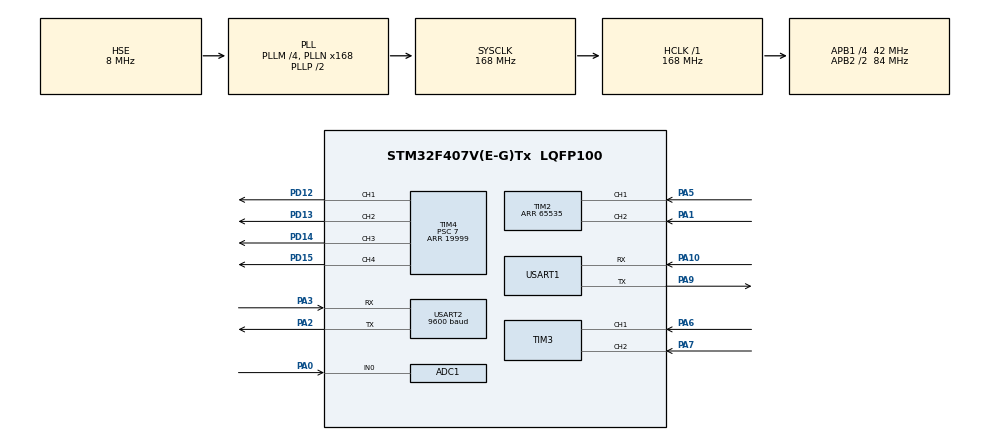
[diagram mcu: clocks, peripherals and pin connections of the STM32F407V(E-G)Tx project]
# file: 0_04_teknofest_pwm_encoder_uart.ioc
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ADC1.Channel-0\#ChannelRegularConversion=ADC_CHANNEL_0
ADC1.ContinuousConvMode=ENABLE
ADC1.DMAContinuousRequests=ENABLE
ADC1.NbrOfConversionFlag=1
ADC1.Rank-0\#ChannelRegularConversion=1
ADC1.SamplingTime-0\#ChannelRegularConversion=ADC_SAMPLETIME_3CYCLES
ADC1.master=1
Dma.ADC1.0.Direction=DMA_PERIPH_TO_MEMORY
Dma.ADC1.0.FIFOMode=DMA_FIFOMODE_DISABLE
Dma.ADC1.0.Instance=DMA2_Stream0
Dma.ADC1.0.MemDataAlignment=DMA_MDATAALIGN_HALFWORD
Dma.ADC1.0.MemInc=DMA_MINC_ENABLE
Dma.ADC1.0.Mode=DMA_CIRCULAR
Dma.ADC1.0.PeriphDataAlignment=DMA_PDATAALIGN_HALFWORD
Dma.ADC1.0.PeriphInc=DMA_PINC_DISABLE
Dma.ADC1.0.Priority=DMA_PRIORITY_LOW
Dma.Request0=ADC1
Mcu.Family=STM32F4
Mcu.Name=STM32F407V(E-G)Tx
Mcu.Package=LQFP100
NVIC.DMA2_Stream0_IRQn=true\:0\:0\:false\:false\:true\:false\:true
NVIC.PriorityGroup=NVIC_PRIORITYGROUP_4
NVIC.USART1_IRQn=true\:0\:0\:false\:false\:true\:true\:true
NVIC.USART2_IRQn=true\:1\:0\:true\:false\:true\:true\:true
PA0-WKUP.Signal=ADCx_IN0
PA1.Signal=S_TIM2_CH2
PA10.Mode=Asynchronous
PA10.Signal=USART1_RX
PA2.Mode=Asynchronous
PA2.Signal=USART2_TX
PA3.Mode=Asynchronous
PA3.Signal=USART2_RX
PA5.Signal=S_TIM2_CH1_ETR
PA6.Signal=S_TIM3_CH1
PA7.Signal=S_TIM3_CH2
PA9.Mode=Asynchronous
PA9.Signal=USART1_TX
PD12.Signal=S_TIM4_CH1
PD13.Signal=S_TIM4_CH2
PD14.Signal=S_TIM4_CH3
PD15.Signal=S_TIM4_CH4
PH0-OSC_IN.Mode=HSE-External-Oscillator
PH0-OSC_IN.Signal=RCC_OSC_IN
PH1-OSC_OUT.Mode=HSE-External-Oscillator
PH1-OSC_OUT.Signal=RCC_OSC_OUT
ProjectManager.HeapSize=0x200
ProjectManager.StackSize=0x400
ProjectManager.TargetToolchain=TrueSTUDIO
RCC.48MHZClocksFreq_Value=84000000
RCC.AHBFreq_Value=168000000
RCC.APB1CLKDivider=RCC_HCLK_DIV4
RCC.APB1Freq_Value=42000000
RCC.APB1TimFreq_Value=84000000
RCC.APB2CLKDivider=RCC_HCLK_DIV2
RCC.APB2Freq_Value=84000000
RCC.APB2TimFreq_Value=168000000
RCC.CortexFreq_Value=168000000
RCC.HCLKFreq_Value=168000000
RCC.HSE_VALUE=8000000
RCC.HSI_VALUE=16000000
RCC.LSE_VALUE=32768
RCC.PLLM=4
RCC.PLLN=168
RCC.PLLSourceVirtual=RCC_PLLSOURCE_HSE
RCC.SYSCLKFreq_VALUE=168000000
RCC.SYSCLKSource=RCC_SYSCLKSOURCE_PLLCLK
RCC.VCOOutputFreq_Value=336000000
SH.ADCx_IN0.0=ADC1_IN0,IN0
SH.S_TIM2_CH1_ETR.0=TIM2_CH1,Encoder_Interface
SH.S_TIM2_CH2.0=TIM2_CH2,Encoder_Interface
SH.S_TIM3_CH1.0=TIM3_CH1,Encoder_Interface
SH.S_TIM3_CH2.0=TIM3_CH2,Encoder_Interface
SH.S_TIM4_CH1.0=TIM4_CH1,PWM Generation1 CH1
SH.S_TIM4_CH2.0=TIM4_CH2,PWM Generation2 CH2
SH.S_TIM4_CH3.0=TIM4_CH3,PWM Generation3 CH3
SH.S_TIM4_CH4.0=TIM4_CH4,PWM Generation4 CH4
TIM2.EncoderMode=TIM_ENCODERMODE_TI12
TIM2.Period=65535
TIM3.EncoderMode=TIM_ENCODERMODE_TI12
TIM3.IC1Filter=15
TIM3.IC2Filter=15
TIM4.Channel-PWM\ Generation1\ CH1=TIM_CHANNEL_1
TIM4.Channel-PWM\ Generation2\ CH2=TIM_CHANNEL_2
TIM4.Channel-PWM\ Generation3\ CH3=TIM_CHANNEL_3
TIM4.Channel-PWM\ Generation4\ CH4=TIM_CHANNEL_4
TIM4.Period=19999
TIM4.Prescaler=7
USART1.VirtualMode=VM_ASYNC
USART2.BaudRate=9600
USART2.VirtualMode=VM_ASYNC
board=custom

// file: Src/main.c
/* USER CODE BEGIN Header */
/**
  ******************************************************************************
  * @file           : main.c
  * @brief          : Main program body
  ******************************************************************************
  * @attention
  *
  * Copyright (c) 2022 STMicroelectronics.
  * All rights reserved.
  *
  * This software is licensed under terms that can be found in the LICENSE file
  * in the root directory of this software component.
  * If no LICENSE file comes with this software, it is provided AS-IS.
  *
  ******************************************************************************
  */
/* USER CODE END Header */
#include "main.h"

/* USER CODE BEGIN Includes */
#include <stdlib.h>
/* USER CODE END Includes */

ADC_HandleTypeDef hadc1;
DMA_HandleTypeDef hdma_adc1;

TIM_HandleTypeDef htim2;
TIM_HandleTypeDef htim3;
TIM_HandleTypeDef htim4;

UART_HandleTypeDef huart1;
UART_HandleTypeDef huart2;

void SystemClock_Config(void);
static void MX_GPIO_Init(void);
static void MX_DMA_Init(void);
static void MX_ADC1_Init(void);
static void MX_TIM2_Init(void);
static void MX_TIM3_Init(void);
static void MX_TIM4_Init(void);
static void MX_USART1_UART_Init(void);
static void MX_USART2_UART_Init(void);

/* USER CODE BEGIN 0 */

//pwm variable
uint32_t pwmPulse[4]={0,0,0,0};
uint32_t pulseUart=0;
char pwmPulseUart[10];

//encoder variable
int encoderCounter_m1,encoderCounter_m1;               //encoder counter is pwm encoder channel
int rotation_m1,rotation_m2,position_m1,positon_m2;   //motor position is calculate
uint32_t adcValue;

//uart2 variable
char rx_buffer[50];
char rx_byte[1];
char tx_buffer[50];
int size=0;

//read adc values
void READ_ADC(){

	HAL_ADC_Start(&hadc1);

	if(HAL_ADC_PollForConversion(&hadc1,100000)== HAL_OK){
		adcValue= HAL_ADC_GetValue(&hadc1);

	}
	HAL_ADC_Stop(&hadc1);
}
uint32_t map(long A,long B,long C,long D,long E){

	return ((A*E)/C);

}

//usart2 interrupt
void USART2_IRQHandler(void)
{
  /* USER CODE BEGIN USART2_IRQn 0 */
   char rx_byte[1];

   HAL_UART_Receive(&huart2,&rx_byte[0],1,100);

   rx_buffer[size++]=rx_byte[0];

   if(rx_byte[0]=='\n'){
	   //come message is send
	   HAL_UART_Transmit(&huart2,&rx_buffer,size,100);
	   uartMessageDebug(rx_buffer);
	   //buffer is clear
	  	  for(int a=0;a<50;a++){
	       	rx_buffer[a]='\0';
	       	}
	      size=0;
   }

  /* USER CODE END USART2_IRQn 0 */
  HAL_UART_IRQHandler(&huart2);
  /* USER CODE BEGIN USART2_IRQn 1 */
  /* USER CODE END USART2_IRQn 1 */
}
void uartMessageDebug(volatile char *s){

  if( s[0]=='i' && s[1]=='l' && s[2]=='e' && s[3]=='r'  && s[4]=='i'   ){

	  forward();
    }
  else if( s[0]=='g' && s[1]=='e' && s[2]=='r' && s[3]=='i'   ){

	  back();
    }
  else if( s[0]=='s' && s[1]=='a' && s[2]=='g' ){
	  right();
      }
  else if( s[0]=='s' && s[1]=='o' && s[2]=='l' ){
	  left();
        }
  else if( s[0]=='d' && s[1]=='u' && s[2]=='r' ){
	  stop();
        }

  else if( s[0]=='h' && s[1]=='i' && s[2]=='z' ){
	 short k=3,m=0;

	 while(1){
		 if( s[k] != '\n'){
		  pwmPulseUart[m]=s[k];
		  k++;
		  m++;
		 }else {
		   pwmPulseUart[m] =s[k];
		   k=3;
		   m=0;

		   pulseUart=atoi(pwmPulseUart);
		   pulseUart = map(pulseUart,0,100,0,20000);
		   for(int a=0;a<10;a++){
			   pwmPulseUart[a]='\0';
		   	 }
		   break;
		  }

	 }

  }
}

void forward(){

	pwmPulse[0]=pulseUart;
	pwmPulse[1]=0;

	pwmPulse[2]=pulseUart;
	pwmPulse[3]=0;

}
void back(){

	pwmPulse[0]=0;
	pwmPulse[1]=pulseUart;

	pwmPulse[2]=0;
	pwmPulse[3]=pulseUart;

}
void left(){

	pwmPulse[0]=pulseUart;
	pwmPulse[1]=0;

	pwmPulse[2]=0;
	pwmPulse[3]=pulseUart;

}
void right(){

	pwmPulse[0]=0;
	pwmPulse[1]=pulseUart;

	pwmPulse[2]=pulseUart;
	pwmPulse[3]=0;

}
void stop(){

	pwmPulse[0]=0;
	pwmPulse[1]=0;

	pwmPulse[2]=0;
	pwmPulse[3]=0;

}

/*void Delay_us(uint16_t us){
    __HAL_TIM_SET_COUNTER(&htim1,0);
    while(__HAL_TIM_GET_COUNTER(&htim1)<us);

}*/

/* USER CODE END 0 */

int main(void)
{

  /* MCU Configuration--------------------------------------------------------*/

  /* Reset of all peripherals, Initializes the Flash interface and the Systick. */
  HAL_Init();

  /* Configure the system clock */
  SystemClock_Config();

  /* Initialize all configured peripherals */
  MX_GPIO_Init();
  MX_DMA_Init();
  MX_ADC1_Init();
  MX_TIM2_Init();
  MX_TIM3_Init();
  MX_TIM4_Init();
  MX_USART1_UART_Init();
  MX_USART2_UART_Init();
  /* USER CODE BEGIN 2 */

        HAL_TIM_PWM_Start(&htim4,TIM_CHANNEL_1);
    	HAL_TIM_PWM_Start(&htim4,TIM_CHANNEL_2);
    	HAL_TIM_PWM_Start(&htim4,TIM_CHANNEL_3);
    	HAL_TIM_PWM_Start(&htim4,TIM_CHANNEL_4);
    	HAL_TIM_Encoder_Start(&htim2,TIM_CHANNEL_ALL);
        HAL_TIM_Encoder_Start(&htim3,TIM_CHANNEL_ALL);
      __HAL_UART_ENABLE_IT(&huart2,UART_IT_RXNE);

  /* USER CODE END 2 */

  /* Infinite loop */
  while (1)
  {

    /* USER CODE BEGIN 3 */

	      /*READ_ADC();
	 	  pwmPulse1_motor1=map(adcValue,0,4095,0,19999);
	 	  pwmPulse2_motor2=map(adcValue,0,4095,0,19999);*/

	      __HAL_TIM_SetCompare(&htim4,TIM_CHANNEL_1,10000);

	 	 __HAL_TIM_SetCompare(&htim4,TIM_CHANNEL_2,10000);

	 	 __HAL_TIM_SetCompare(&htim4,TIM_CHANNEL_3,pwmPulse[2]);

	 	 __HAL_TIM_SetCompare(&htim4,TIM_CHANNEL_4,pwmPulse[3]);

	    rotation_m1= __HAL_TIM_GET_COUNTER(&htim2);
	 	position_m1= !(__HAL_TIM_IS_TIM_COUNTING_DOWN(&htim2));
	 	rotation_m2= __HAL_TIM_GET_COUNTER(&htim3);
	    positon_m2= !(__HAL_TIM_IS_TIM_COUNTING_DOWN(&htim3));

  }
  /* USER CODE END 3 */
}

void SystemClock_Config(void)
{
  RCC_OscInitTypeDef RCC_OscInitStruct = {0};
  RCC_ClkInitTypeDef RCC_ClkInitStruct = {0};

  /** Configure the main internal regulator output voltage
  */
  __HAL_RCC_PWR_CLK_ENABLE();
  __HAL_PWR_VOLTAGESCALING_CONFIG(PWR_REGULATOR_VOLTAGE_SCALE1);
  /** Initializes the RCC Oscillators according to the specified parameters
  * in the RCC_OscInitTypeDef structure.
  */
  RCC_OscInitStruct.OscillatorType = RCC_OSCILLATORTYPE_HSE;
  RCC_OscInitStruct.HSEState = RCC_HSE_ON;
  RCC_OscInitStruct.PLL.PLLState = RCC_PLL_ON;
  RCC_OscInitStruct.PLL.PLLSource = RCC_PLLSOURCE_HSE;
  RCC_OscInitStruct.PLL.PLLM = 4;
  RCC_OscInitStruct.PLL.PLLN = 168;
  RCC_OscInitStruct.PLL.PLLP = RCC_PLLP_DIV2;
  RCC_OscInitStruct.PLL.PLLQ = 4;
  if (HAL_RCC_OscConfig(&RCC_OscInitStruct) != HAL_OK)
  {
    Error_Handler();
  }
  /** Initializes the CPU, AHB and APB buses clocks
  */
  RCC_ClkInitStruct.ClockType = RCC_CLOCKTYPE_HCLK|RCC_CLOCKTYPE_SYSCLK
                              |RCC_CLOCKTYPE_PCLK1|RCC_CLOCKTYPE_PCLK2;
  RCC_ClkInitStruct.SYSCLKSource = RCC_SYSCLKSOURCE_PLLCLK;
  RCC_ClkInitStruct.AHBCLKDivider = RCC_SYSCLK_DIV1;
  RCC_ClkInitStruct.APB1CLKDivider = RCC_HCLK_DIV4;
  RCC_ClkInitStruct.APB2CLKDivider = RCC_HCLK_DIV2;

  if (HAL_RCC_ClockConfig(&RCC_ClkInitStruct, FLASH_LATENCY_5) != HAL_OK)
  {
    Error_Handler();
  }
}

static void MX_ADC1_Init(void)
{

  ADC_ChannelConfTypeDef sConfig = {0};

  /** Configure the global features of the ADC (Clock, Resolution, Data Alignment and number of conversion)
  */
  hadc1.Instance = ADC1;
  hadc1.Init.ClockPrescaler = ADC_CLOCK_SYNC_PCLK_DIV4;
  hadc1.Init.Resolution = ADC_RESOLUTION_12B;
  hadc1.Init.ScanConvMode = DISABLE;
  hadc1.Init.ContinuousConvMode = ENABLE;
  hadc1.Init.DiscontinuousConvMode = DISABLE;
  hadc1.Init.ExternalTrigConvEdge = ADC_EXTERNALTRIGCONVEDGE_NONE;
  hadc1.Init.ExternalTrigConv = ADC_SOFTWARE_START;
  hadc1.Init.DataAlign = ADC_DATAALIGN_RIGHT;
  hadc1.Init.NbrOfConversion = 1;
  hadc1.Init.DMAContinuousRequests = ENABLE;
  hadc1.Init.EOCSelection = ADC_EOC_SINGLE_CONV;
  if (HAL_ADC_Init(&hadc1) != HAL_OK)
  {
    Error_Handler();
  }
  /** Configure for the selected ADC regular channel its corresponding rank in the sequencer and its sample time.
  */
  sConfig.Channel = ADC_CHANNEL_0;
  sConfig.Rank = 1;
  sConfig.SamplingTime = ADC_SAMPLETIME_3CYCLES;
  if (HAL_ADC_ConfigChannel(&hadc1, &sConfig) != HAL_OK)
  {
    Error_Handler();
  }

}

static void MX_TIM2_Init(void)
{

  TIM_Encoder_InitTypeDef sConfig = {0};
  TIM_MasterConfigTypeDef sMasterConfig = {0};

  htim2.Instance = TIM2;
  htim2.Init.Prescaler = 0;
  htim2.Init.CounterMode = TIM_COUNTERMODE_UP;
  htim2.Init.Period = 65535;
  htim2.Init.ClockDivision = TIM_CLOCKDIVISION_DIV1;
  htim2.Init.AutoReloadPreload = TIM_AUTORELOAD_PRELOAD_DISABLE;
  sConfig.EncoderMode = TIM_ENCODERMODE_TI12;
  sConfig.IC1Polarity = TIM_ICPOLARITY_RISING;
  sConfig.IC1Selection = TIM_ICSELECTION_DIRECTTI;
  sConfig.IC1Prescaler = TIM_ICPSC_DIV1;
  sConfig.IC1Filter = 0;
  sConfig.IC2Polarity = TIM_ICPOLARITY_RISING;
  sConfig.IC2Selection = TIM_ICSELECTION_DIRECTTI;
  sConfig.IC2Prescaler = TIM_ICPSC_DIV1;
  sConfig.IC2Filter = 0;
  if (HAL_TIM_Encoder_Init(&htim2, &sConfig) != HAL_OK)
  {
    Error_Handler();
  }
  sMasterConfig.MasterOutputTrigger = TIM_TRGO_RESET;
  sMasterConfig.MasterSlaveMode = TIM_MASTERSLAVEMODE_DISABLE;
  if (HAL_TIMEx_MasterConfigSynchronization(&htim2, &sMasterConfig) != HAL_OK)
  {
    Error_Handler();
  }

}

static void MX_TIM3_Init(void)
{

  TIM_Encoder_InitTypeDef sConfig = {0};
  TIM_MasterConfigTypeDef sMasterConfig = {0};

  htim3.Instance = TIM3;
  htim3.Init.Prescaler = 0;
  htim3.Init.CounterMode = TIM_COUNTERMODE_UP;
  htim3.Init.Period = 65535;
  htim3.Init.ClockDivision = TIM_CLOCKDIVISION_DIV1;
  htim3.Init.AutoReloadPreload = TIM_AUTORELOAD_PRELOAD_DISABLE;
  sConfig.EncoderMode = TIM_ENCODERMODE_TI12;
  sConfig.IC1Polarity = TIM_ICPOLARITY_RISING;
  sConfig.IC1Selection = TIM_ICSELECTION_DIRECTTI;
  sConfig.IC1Prescaler = TIM_ICPSC_DIV1;
  sConfig.IC1Filter = 15;
  sConfig.IC2Polarity = TIM_ICPOLARITY_RISING;
  sConfig.IC2Selection = TIM_ICSELECTION_DIRECTTI;
  sConfig.IC2Prescaler = TIM_ICPSC_DIV1;
  sConfig.IC2Filter = 15;
  if (HAL_TIM_Encoder_Init(&htim3, &sConfig) != HAL_OK)
  {
    Error_Handler();
  }
  sMasterConfig.MasterOutputTrigger = TIM_TRGO_RESET;
  sMasterConfig.MasterSlaveMode = TIM_MASTERSLAVEMODE_DISABLE;
  if (HAL_TIMEx_MasterConfigSynchronization(&htim3, &sMasterConfig) != HAL_OK)
  {
    Error_Handler();
  }

}

static void MX_TIM4_Init(void)
{

  TIM_MasterConfigTypeDef sMasterConfig = {0};
  TIM_OC_InitTypeDef sConfigOC = {0};

  htim4.Instance = TIM4;
  htim4.Init.Prescaler = 7;
  htim4.Init.CounterMode = TIM_COUNTERMODE_UP;
  htim4.Init.Period = 19999;
  htim4.Init.ClockDivision = TIM_CLOCKDIVISION_DIV1;
  htim4.Init.AutoReloadPreload = TIM_AUTORELOAD_PRELOAD_DISABLE;
  if (HAL_TIM_PWM_Init(&htim4) != HAL_OK)
  {
    Error_Handler();
  }
  sMasterConfig.MasterOutputTrigger = TIM_TRGO_RESET;
  sMasterConfig.MasterSlaveMode = TIM_MASTERSLAVEMODE_DISABLE;
  if (HAL_TIMEx_MasterConfigSynchronization(&htim4, &sMasterConfig) != HAL_OK)
  {
    Error_Handler();
  }
  sConfigOC.OCMode = TIM_OCMODE_PWM1;
  sConfigOC.Pulse = 0;
  sConfigOC.OCPolarity = TIM_OCPOLARITY_HIGH;
  sConfigOC.OCFastMode = TIM_OCFAST_DISABLE;
  if (HAL_TIM_PWM_ConfigChannel(&htim4, &sConfigOC, TIM_CHANNEL_1) != HAL_OK)
  {
    Error_Handler();
  }
  if (HAL_TIM_PWM_ConfigChannel(&htim4, &sConfigOC, TIM_CHANNEL_2) != HAL_OK)
  {
    Error_Handler();
  }
  if (HAL_TIM_PWM_ConfigChannel(&htim4, &sConfigOC, TIM_CHANNEL_3) != HAL_OK)
  {
    Error_Handler();
  }
  if (HAL_TIM_PWM_ConfigChannel(&htim4, &sConfigOC, TIM_CHANNEL_4) != HAL_OK)
  {
    Error_Handler();
  }
  HAL_TIM_MspPostInit(&htim4);

}

static void MX_USART1_UART_Init(void)
{

  huart1.Instance = USART1;
  huart1.Init.BaudRate = 115200;
  huart1.Init.WordLength = UART_WORDLENGTH_8B;
  huart1.Init.StopBits = UART_STOPBITS_1;
  huart1.Init.Parity = UART_PARITY_NONE;
  huart1.Init.Mode = UART_MODE_TX_RX;
  huart1.Init.HwFlowCtl = UART_HWCONTROL_NONE;
  huart1.Init.OverSampling = UART_OVERSAMPLING_16;
  if (HAL_UART_Init(&huart1) != HAL_OK)
  {
    Error_Handler();
  }

}

static void MX_USART2_UART_Init(void)
{

  huart2.Instance = USART2;
  huart2.Init.BaudRate = 9600;
  huart2.Init.WordLength = UART_WORDLENGTH_8B;
  huart2.Init.StopBits = UART_STOPBITS_1;
  huart2.Init.Parity = UART_PARITY_NONE;
  huart2.Init.Mode = UART_MODE_TX_RX;
  huart2.Init.HwFlowCtl = UART_HWCONTROL_NONE;
  huart2.Init.OverSampling = UART_OVERSAMPLING_16;
  if (HAL_UART_Init(&huart2) != HAL_OK)
  {
    Error_Handler();
  }

}

static void MX_DMA_Init(void)
{

  /* DMA controller clock enable */
  __HAL_RCC_DMA2_CLK_ENABLE();

  /* DMA interrupt init */
  /* DMA2_Stream0_IRQn interrupt configuration */
  HAL_NVIC_SetPriority(DMA2_Stream0_IRQn, 0, 0);
  HAL_NVIC_EnableIRQ(DMA2_Stream0_IRQn);

}

static void MX_GPIO_Init(void)
{

  /* GPIO Ports Clock Enable */
  __HAL_RCC_GPIOH_CLK_ENABLE();
  __HAL_RCC_GPIOA_CLK_ENABLE();
  __HAL_RCC_GPIOD_CLK_ENABLE();

}

void Error_Handler(void)
{
  __disable_irq();
  while (1)
  {
  }
}
